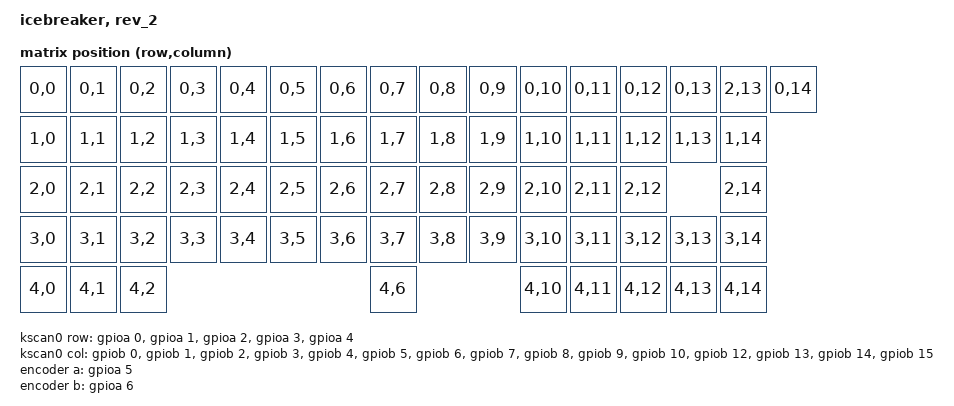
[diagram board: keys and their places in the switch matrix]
/*
 * Copyright (c) 2020 The ZMK Contributors
 *
 * SPDX-License-Identifier: MIT
 */

/dts-v1/;
#include <st/f4/stm32f411Xe.dtsi>
#include <st/f4/stm32f411c(e-u)tx-pinctrl.dtsi>
#include <dt-bindings/zmk/matrix_transform.h>
#include <dt-bindings/led/led.h>

/ {
	model = "icebreaker, rev_2"; 
	compatible = "icebreaker,rev_2";

	chosen {
		zephyr,code-partition = &code_partition;
		zephyr,sram = &sram0;
		zephyr,flash = &flash0;
		zmk,kscan = &kscan0;
		zmk,matrix_transform = &default_transform;
	};

	default_transform: keymap_transform_0 {
		compatible = "zmk,matrix-transform";
		columns = <15>;
		rows = <5>;
		map = <
			RC(0,0)	RC(0,1)	RC(0,2)	RC(0,3)	RC(0,4)	RC(0,5)	RC(0,6)	RC(0,7)	RC(0,8)	RC(0,9)	RC(0,10) RC(0,11) RC(0,12) RC(0,13) RC(2,13) RC(0,14)
			RC(1,0)	RC(1,1)	RC(1,2)	RC(1,3)	RC(1,4)	RC(1,5)	RC(1,6)	RC(1,7)	RC(1,8)	RC(1,9)	RC(1,10) RC(1,11) RC(1,12) RC(1,13) RC(1,14)
			RC(2,0)	RC(2,1)	RC(2,2)	RC(2,3)	RC(2,4)	RC(2,5)	RC(2,6)	RC(2,7)	RC(2,8)	RC(2,9)	RC(2,10) RC(2,11) RC(2,12)          RC(2,14)
			RC(3,0)	RC(3,1)	RC(3,2)	RC(3,3)	RC(3,4)	RC(3,5)	RC(3,6)	RC(3,7)	RC(3,8)	RC(3,9)	RC(3,10) RC(3,11) RC(3,12) RC(3,13) RC(3,14)
			RC(4,0)	RC(4,1) RC(4,2)		                         	RC(4,6)	                RC(4,10) RC(4,11) RC(4,12) RC(4,13) RC(4,14)
			>;
	};

 
	kscan0: kscan {
		compatible = "zmk,kscan-gpio-matrix";
		diode-direction = "col2row";
		row-gpios
			= <&gpioa 0 (GPIO_ACTIVE_HIGH | GPIO_PULL_DOWN)>
			, <&gpioa 1 (GPIO_ACTIVE_HIGH | GPIO_PULL_DOWN)>
			, <&gpioa 2 (GPIO_ACTIVE_HIGH | GPIO_PULL_DOWN)>
			, <&gpioa 3 (GPIO_ACTIVE_HIGH | GPIO_PULL_DOWN)>
			, <&gpioa 4 (GPIO_ACTIVE_HIGH | GPIO_PULL_DOWN)>
			;
		col-gpios
			= <&gpiob 0 GPIO_ACTIVE_HIGH>
			, <&gpiob 1 GPIO_ACTIVE_HIGH>
			, <&gpiob 2 GPIO_ACTIVE_HIGH>
			, <&gpiob 3 GPIO_ACTIVE_HIGH>
			, <&gpiob 4 GPIO_ACTIVE_HIGH>
			, <&gpiob 5 GPIO_ACTIVE_HIGH>
			, <&gpiob 6 GPIO_ACTIVE_HIGH>
			, <&gpiob 7 GPIO_ACTIVE_HIGH>
			, <&gpiob 8 GPIO_ACTIVE_HIGH>
			, <&gpiob 9 GPIO_ACTIVE_HIGH>
			, <&gpiob 10 GPIO_ACTIVE_HIGH>
			, <&gpiob 12 GPIO_ACTIVE_HIGH>
			, <&gpiob 13 GPIO_ACTIVE_HIGH>
			, <&gpiob 14 GPIO_ACTIVE_HIGH>
			, <&gpiob 15 GPIO_ACTIVE_HIGH>
			;
	};
	encoder: encoder {
    	compatible = "alps,ec11";
        a-gpios = <&gpioa 5 (GPIO_ACTIVE_HIGH | GPIO_PULL_UP)>;
        b-gpios = <&gpioa 6 (GPIO_ACTIVE_HIGH | GPIO_PULL_UP)>;
        steps = <80>;
        status = "disabled";
	}; // todo fix pins
		
	sensors: sensors {
		compatible = "zmk,keymap-sensors";
		sensors = <&encoder>;
		triggers-per-rotation = <20>;
    };

};



&clk_hse {
	status = "okay";
	clock-frequency = <DT_FREQ_M(25)>;
};

&pll {
	div-m = <25>;
	mul-n = <192>;
	div-p = <2>;
	div-q = <4>;
	clocks = <&clk_hse>;
	status = "okay";
};

&rcc {
	clocks = <&pll>;
	clock-frequency = <DT_FREQ_M(96)>;
	ahb-prescaler = <1>;
	apb1-prescaler = <2>;
	apb2-prescaler = <1>;
};

&usart1 {
	pinctrl-0 = <&usart1_tx_pa9 &usart1_rx_pa10>;
	pinctrl-names = "default";
	current-speed = <115200>;
	status = "okay";
};

&spi1 {
	status = "okay";
	pinctrl-0 = <&spi1_sck_pa5 &spi1_miso_pa6 &spi1_mosi_pa7>;
	pinctrl-names = "default";
	cs-gpios = <&gpioa 15 GPIO_ACTIVE_LOW>;

	led_strip: ws2812@0 {
		compatible = "worldsemi,ws2812-spi";
		reg = <0>;
		spi-max-frequency = <4000000>;
		chain-length = <68>; /* number of LEDs */
		spi-one-frame = <0x70>;
		spi-zero-frame = <0x40>;
		color-mapping = <LED_COLOR_ID_GREEN
						LED_COLOR_ID_RED
						LED_COLOR_ID_BLUE>;
	};
};

&flash0 {
	partitions {
		compatible = "fixed-partitions";
		#address-cells = <1>;
		#size-cells = <1>;

		boot_partition: partition@0 {
			label = "bootloader";
			reg = <0x00000000 0x00010000>;
			read-only;
		};

		code_partition: partition@10000 {
			label = "code_partition";
			reg = <0x00010000 0x00070000>;
		};

		storage_partition: partition@80000 {
			label = "storage";
			reg = <0x00080000 0x00010000>;
		};
	};
};

&usb {
	status = "okay";
	pinctrl-0 = <&usb_dm_pa11 &usb_dp_pa12>;
	pinctrl-names = "default";
};

/ {
    chosen {
        zmk,underglow = &led_strip;
    };
};
